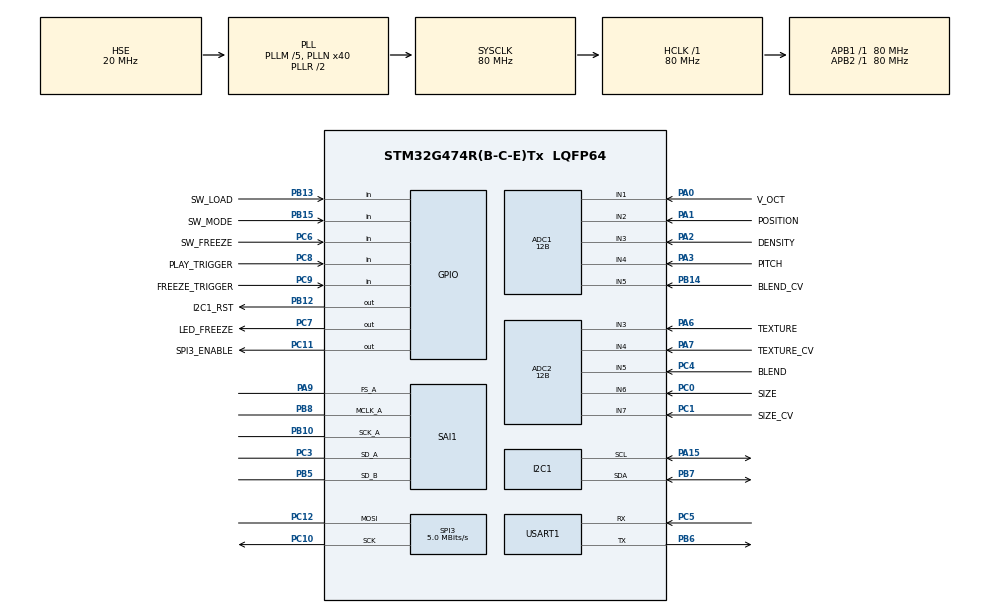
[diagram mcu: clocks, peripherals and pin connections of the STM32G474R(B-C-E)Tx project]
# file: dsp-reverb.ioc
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ADC1.Channel-1\#ChannelRegularConversion=ADC_CHANNEL_1
ADC1.Channel-2\#ChannelRegularConversion=ADC_CHANNEL_2
ADC1.Channel-3\#ChannelRegularConversion=ADC_CHANNEL_3
ADC1.Channel-4\#ChannelRegularConversion=ADC_CHANNEL_4
ADC1.Channel-5\#ChannelRegularConversion=ADC_CHANNEL_5
ADC1.ContinuousConvMode=ENABLE
ADC1.DMAContinuousRequests=ENABLE
ADC1.NbrOfConversion=5
ADC1.NbrOfConversionFlag=1
ADC1.OffsetNumber-1\#ChannelRegularConversion=ADC_OFFSET_NONE
ADC1.OffsetNumber-2\#ChannelRegularConversion=ADC_OFFSET_NONE
ADC1.OffsetNumber-3\#ChannelRegularConversion=ADC_OFFSET_NONE
ADC1.OffsetNumber-4\#ChannelRegularConversion=ADC_OFFSET_NONE
ADC1.OffsetNumber-5\#ChannelRegularConversion=ADC_OFFSET_NONE
ADC1.Overrun=ADC_OVR_DATA_PRESERVED
ADC1.Rank-1\#ChannelRegularConversion=1
ADC1.Rank-2\#ChannelRegularConversion=2
ADC1.Rank-3\#ChannelRegularConversion=3
ADC1.Rank-4\#ChannelRegularConversion=4
ADC1.Rank-5\#ChannelRegularConversion=5
ADC1.Resolution=ADC_RESOLUTION_12B
ADC1.SamplingTime-1\#ChannelRegularConversion=ADC_SAMPLETIME_47CYCLES_5
ADC1.SamplingTime-2\#ChannelRegularConversion=ADC_SAMPLETIME_47CYCLES_5
ADC1.SamplingTime-3\#ChannelRegularConversion=ADC_SAMPLETIME_47CYCLES_5
ADC1.SamplingTime-4\#ChannelRegularConversion=ADC_SAMPLETIME_47CYCLES_5
ADC1.SamplingTime-5\#ChannelRegularConversion=ADC_SAMPLETIME_47CYCLES_5
ADC1.master=1
ADC2.Channel-2\#ChannelRegularConversion=ADC_CHANNEL_3
ADC2.Channel-3\#ChannelRegularConversion=ADC_CHANNEL_4
ADC2.Channel-4\#ChannelRegularConversion=ADC_CHANNEL_5
ADC2.Channel-5\#ChannelRegularConversion=ADC_CHANNEL_6
ADC2.Channel-6\#ChannelRegularConversion=ADC_CHANNEL_7
ADC2.ContinuousConvMode=ENABLE
ADC2.DMAContinuousRequests=ENABLE
ADC2.EOCSelection=ADC_EOC_SEQ_CONV
ADC2.NbrOfConversion=5
ADC2.NbrOfConversionFlag=1
ADC2.OffsetNumber-2\#ChannelRegularConversion=ADC_OFFSET_NONE
ADC2.OffsetNumber-3\#ChannelRegularConversion=ADC_OFFSET_NONE
ADC2.OffsetNumber-4\#ChannelRegularConversion=ADC_OFFSET_NONE
ADC2.OffsetNumber-5\#ChannelRegularConversion=ADC_OFFSET_NONE
ADC2.OffsetNumber-6\#ChannelRegularConversion=ADC_OFFSET_NONE
ADC2.Overrun=ADC_OVR_DATA_PRESERVED
ADC2.Rank-2\#ChannelRegularConversion=1
ADC2.Rank-3\#ChannelRegularConversion=2
ADC2.Rank-4\#ChannelRegularConversion=3
ADC2.Rank-5\#ChannelRegularConversion=4
ADC2.Rank-6\#ChannelRegularConversion=5
ADC2.Resolution=ADC_RESOLUTION_12B
ADC2.SamplingTime-2\#ChannelRegularConversion=ADC_SAMPLETIME_47CYCLES_5
ADC2.SamplingTime-3\#ChannelRegularConversion=ADC_SAMPLETIME_47CYCLES_5
ADC2.SamplingTime-4\#ChannelRegularConversion=ADC_SAMPLETIME_47CYCLES_5
ADC2.SamplingTime-5\#ChannelRegularConversion=ADC_SAMPLETIME_47CYCLES_5
ADC2.SamplingTime-6\#ChannelRegularConversion=ADC_SAMPLETIME_47CYCLES_5
Dma.ADC1.0.Direction=DMA_PERIPH_TO_MEMORY
Dma.ADC1.0.EventEnable=DISABLE
Dma.ADC1.0.Instance=DMA1_Channel1
Dma.ADC1.0.MemDataAlignment=DMA_MDATAALIGN_HALFWORD
Dma.ADC1.0.MemInc=DMA_MINC_ENABLE
Dma.ADC1.0.Mode=DMA_NORMAL
Dma.ADC1.0.PeriphDataAlignment=DMA_PDATAALIGN_HALFWORD
Dma.ADC1.0.PeriphInc=DMA_PINC_DISABLE
Dma.ADC1.0.Polarity=HAL_DMAMUX_REQ_GEN_RISING
Dma.ADC1.0.Priority=DMA_PRIORITY_HIGH
Dma.ADC1.0.RequestNumber=1
Dma.ADC1.0.SignalID=NONE
Dma.ADC1.0.SyncEnable=DISABLE
Dma.ADC1.0.SyncPolarity=HAL_DMAMUX_SYNC_NO_EVENT
Dma.ADC1.0.SyncRequestNumber=1
Dma.ADC1.0.SyncSignalID=NONE
Dma.ADC2.1.Direction=DMA_PERIPH_TO_MEMORY
Dma.ADC2.1.EventEnable=DISABLE
Dma.ADC2.1.Instance=DMA1_Channel2
Dma.ADC2.1.MemDataAlignment=DMA_MDATAALIGN_HALFWORD
Dma.ADC2.1.MemInc=DMA_MINC_ENABLE
Dma.ADC2.1.Mode=DMA_NORMAL
Dma.ADC2.1.PeriphDataAlignment=DMA_PDATAALIGN_HALFWORD
Dma.ADC2.1.PeriphInc=DMA_PINC_DISABLE
Dma.ADC2.1.Polarity=HAL_DMAMUX_REQ_GEN_RISING
Dma.ADC2.1.Priority=DMA_PRIORITY_HIGH
Dma.ADC2.1.RequestNumber=1
Dma.ADC2.1.SignalID=NONE
Dma.ADC2.1.SyncEnable=DISABLE
Dma.ADC2.1.SyncPolarity=HAL_DMAMUX_SYNC_NO_EVENT
Dma.ADC2.1.SyncRequestNumber=1
Dma.ADC2.1.SyncSignalID=NONE
Dma.Request0=ADC1
Dma.Request1=ADC2
I2C1.I2C_Fall_Time=0
I2C1.I2C_Rise_Time=0
I2C1.Timing=0x10909CEC
Mcu.Family=STM32G4
Mcu.Name=STM32G474R(B-C-E)Tx
Mcu.Package=LQFP64
NVIC.DMA1_Channel1_IRQn=true\:0\:0\:false\:false\:true\:false\:true\:true
NVIC.DMA1_Channel2_IRQn=true\:0\:0\:false\:false\:true\:false\:true\:true
NVIC.PriorityGroup=NVIC_PRIORITYGROUP_4
NVIC.RCC_IRQn=true\:0\:0\:false\:false\:true\:true\:false\:true
PA0.GPIO_Label=V_OCT
PA0.Mode=IN1-Single-Ended
PA0.Signal=ADC1_IN1
PA1.GPIO_Label=POSITION
PA1.Mode=IN2-Single-Ended
PA1.Signal=ADC1_IN2
PA13.Mode=Serial_Wire
PA13.Signal=SYS_JTMS-SWDIO
PA14.Mode=Serial_Wire
PA14.Signal=SYS_JTCK-SWCLK
PA15.Mode=I2C
PA15.Signal=I2C1_SCL
PA2.GPIO_Label=DENSITY
PA2.Mode=IN3-Single-Ended
PA2.Signal=ADC1_IN3
PA3.GPIO_Label=PITCH
PA3.Mode=IN4-Single-Ended
PA3.Signal=ADC1_IN4
PA6.GPIO_Label=TEXTURE
PA6.Mode=IN3-Single-Ended
PA6.Signal=ADC2_IN3
PA7.GPIO_Label=TEXTURE_CV
PA7.Mode=IN4-Single-Ended
PA7.Signal=ADC2_IN4
PA9.Mode=SAI_A_MasterWithClock
PA9.Signal=SAI1_FS_A
PB10.Mode=SAI_A_MasterWithClock
PB10.Signal=SAI1_SCK_A
PB12.GPIO_Label=I2C1_RST
PB12.Signal=GPIO_Output
PB13.GPIO_Label=SW_LOAD
PB13.GPIO_PuPd=GPIO_PULLUP
PB13.Signal=GPIO_Input
PB14.GPIO_Label=BLEND_CV
PB14.Mode=IN5-Single-Ended
PB14.Signal=ADC1_IN5
PB15.GPIO_Label=SW_MODE
PB15.GPIO_PuPd=GPIO_PULLUP
PB15.Signal=GPIO_Input
PB3.Signal=SYS_JTDO-SWO
PB5.Mode=SAI_B_SyncSlave
PB5.Signal=SAI1_SD_B
PB6.Mode=Asynchronous
PB6.Signal=USART1_TX
PB7.Mode=I2C
PB7.Signal=I2C1_SDA
PB8-BOOT0.Mode=SAI_A_MasterWithClock
PB8-BOOT0.Signal=SAI1_MCLK_A
PC0.GPIO_Label=SIZE
PC0.Mode=IN6-Single-Ended
PC0.Signal=ADC2_IN6
PC1.GPIO_Label=SIZE_CV
PC1.Mode=IN7-Single-Ended
PC1.Signal=ADC2_IN7
PC10.Mode=Simplex_Bidirectional_Master
PC10.Signal=SPI3_SCK
PC11.GPIO_Label=SPI3_ENABLE
PC11.GPIO_Speed=GPIO_SPEED_FREQ_HIGH
PC11.PinState=GPIO_PIN_SET
PC11.Signal=GPIO_Output
PC12.Mode=Simplex_Bidirectional_Master
PC12.Signal=SPI3_MOSI
PC3.Mode=SAI_A_MasterWithClock
PC3.Signal=SAI1_SD_A
PC4.GPIO_Label=BLEND
PC4.Mode=IN5-Single-Ended
PC4.Signal=ADC2_IN5
PC5.Mode=Asynchronous
PC5.Signal=USART1_RX
PC6.GPIO_Label=SW_FREEZE
PC6.GPIO_PuPd=GPIO_PULLUP
PC6.Signal=GPIO_Input
PC7.GPIO_Label=LED_FREEZE
PC7.Signal=GPIO_Output
PC8.GPIO_Label=PLAY_TRIGGER
PC8.GPIO_PuPd=GPIO_PULLDOWN
PC8.Signal=GPIO_Input
PC9.GPIO_Label=FREEZE_TRIGGER
PC9.GPIO_PuPd=GPIO_PULLDOWN
PC9.Signal=GPIO_Input
PF0-OSC_IN.Mode=HSE-External-Oscillator
PF0-OSC_IN.Signal=RCC_OSC_IN
PF1-OSC_OUT.Mode=HSE-External-Oscillator
PF1-OSC_OUT.Signal=RCC_OSC_OUT
ProjectManager.HeapSize=0x200
ProjectManager.StackSize=0x400
ProjectManager.TargetToolchain=STM32CubeIDE
RCC.ADC12Freq_Value=80000000
RCC.ADC345Freq_Value=80000000
RCC.AHBFreq_Value=80000000
RCC.APB1Freq_Value=80000000
RCC.APB1TimFreq_Value=80000000
RCC.APB2Freq_Value=80000000
RCC.APB2TimFreq_Value=80000000
RCC.CortexFreq_Value=80000000
RCC.EXTERNAL_CLOCK_VALUE=12288000
RCC.HCLKFreq_Value=80000000
RCC.HSE_VALUE=20000000
RCC.HSI48_VALUE=48000000
RCC.HSI_VALUE=16000000
RCC.LSE_VALUE=32768
RCC.PLLM=RCC_PLLM_DIV5
RCC.PLLN=40
RCC.PLLSourceVirtual=RCC_PLLSOURCE_HSE
RCC.SYSCLKFreq_VALUE=80000000
RCC.SYSCLKSource=RCC_SYSCLKSOURCE_PLLCLK
RCC.USBFreq_Value=80000000
RCC.VCOOutputFreq_Value=160000000
SAI1.AudioFrequency-SAI_A_MasterWithClock=SAI_AUDIO_FREQUENCY_48K
SAI1.AudioMode-SAI_A_MasterWithClock=SAI_MODEMASTER_TX
SAI1.BasicDataSize-SAI_A_MasterWithClock=SAI_PROTOCOL_DATASIZE_24BIT
SAI1.BasicDataSize-SAI_B_SyncSlave=SAI_PROTOCOL_DATASIZE_24BIT
SAI1.InitProtocol-SAI_A_MasterWithClock=Enable
SAI1.InitProtocol-SAI_B_SyncSlave=Enable
SAI1.Instance-SAI_A_MasterWithClock=SAI$Index_Block_A
SAI1.Instance-SAI_B_SyncSlave=SAI$Index_Block_B
SAI1.MckOutput-SAI_A_MasterWithClock=SAI_MCK_OUTPUT_ENABLE
SAI1.VirtualMode-SAI_A_MasterWithClock=VM_MASTER
SAI1.VirtualMode-SAI_B_SyncSlave=VM_SLAVE
SAI1.VirtualProtocol-SAI_A_BASIC=VM_BASIC_PROTOCOL
SAI1.VirtualProtocol-SAI_B_BASIC=VM_BASIC_PROTOCOL
SPI3.BaudRatePrescaler=SPI_BAUDRATEPRESCALER_16
SPI3.CalculateBaudRate=5.0 MBits/s
SPI3.DataSize=SPI_DATASIZE_8BIT
SPI3.Direction=SPI_DIRECTION_1LINE
SPI3.Mode=SPI_MODE_MASTER
SPI3.VirtualType=VM_MASTER
USART1.VirtualMode-Asynchronous=VM_ASYNC
VP_SAI1_VP_$IpInstance_SAIA_SAI_BASIC.Mode=SAI_A_BASIC
VP_SAI1_VP_$IpInstance_SAIB_SAI_BASIC.Mode=SAI_B_BASIC
VP_SYS_VS_DBSignals.Mode=DisableDeadBatterySignals
board=custom

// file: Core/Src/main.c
/* USER CODE BEGIN Header */
/**
  ******************************************************************************
  * @file           : main.c
  * @brief          : Main program body
  ******************************************************************************
  * @attention
  *
  * Copyright (c) 2025 STMicroelectronics.
  * All rights reserved.
  *
  * This software is licensed under terms that can be found in the LICENSE file
  * in the root directory of this software component.
  * If no LICENSE file comes with this software, it is provided AS-IS.
  *
  ******************************************************************************
  */
/* USER CODE END Header */
#include "main.h"

/* USER CODE BEGIN Includes */
#include "app/cs4270.h"
#include "app/reverb.h"
#include "app/adc.h"
#include "app/led_driver.h"

/* USER CODE END Includes */

/* USER CODE BEGIN PD */
// Buffer sizes for 48kHz stereo, 24-bit
#define BUFFER_SIZE     256  // Adjust based on your latency requirements
#define SAMPLE_SIZE     4    // 32-bit container for 24-bit samples

/* USER CODE END PD */

ADC_HandleTypeDef hadc1;
ADC_HandleTypeDef hadc2;
DMA_HandleTypeDef hdma_adc1;
DMA_HandleTypeDef hdma_adc2;

I2C_HandleTypeDef hi2c1;

SAI_HandleTypeDef hsai_BlockA1;
SAI_HandleTypeDef hsai_BlockB1;

SPI_HandleTypeDef hspi3;

UART_HandleTypeDef huart1;

/* USER CODE BEGIN PV */

// Configurations
LED_DRIVER_config led_driver_config;
CS4270_config cs4270_config;

// UI Parameters
REVERB_parameters reverb_parameters;

// Define buffers for ADC results
uint16_t adc1_buffer[5]; // Size matches NbrOfConversion
uint16_t adc2_buffer[5];

// DMA buffers
int32_t rxBuffer[BUFFER_SIZE * 2]; // Double buffer for input
int32_t txBuffer[BUFFER_SIZE * 2]; // Double buffer for output

/* USER CODE END PV */

void SystemClock_Config(void);
static void MX_GPIO_Init(void);
static void MX_DMA_Init(void);
static void MX_ADC1_Init(void);
static void MX_ADC2_Init(void);
static void MX_I2C1_Init(void);
static void MX_SAI1_Init(void);
static void MX_SPI3_Init(void);
static void MX_USART1_UART_Init(void);

/* USER CODE BEGIN 0 */

// Initialize DMA
void initAudioDMA(void)
{
    // Start SAI DMA for both RX and TX
    HAL_SAI_Receive_DMA(&hsai_BlockB1, rxBuffer, BUFFER_SIZE * 2);
    HAL_SAI_Transmit_DMA(&hsai_BlockA1, txBuffer, BUFFER_SIZE * 2);
}

// DMA Callbacks

void HAL_ADC_ConvCpltCallback(ADC_HandleTypeDef* hadc)
{
    if(hadc->Instance == ADC1)
    {
        // Process new values
        REVERB_parameters parameters = ADC_fetch_parameters();
        ADC_smooth_parameters(parameters, &reverb_parameters);
    }
}

void HAL_SAI_RxHalfCpltCallback(SAI_HandleTypeDef* hsai)
{
    if (hsai->Instance == SAI1_Block_B)
    {
        // Process first half of input buffer
        REVERB_process(rxBuffer, txBuffer, 0, BUFFER_SIZE);
    }
}

void HAL_SAI_RxCpltCallback(SAI_HandleTypeDef* hsai)
{
    if (hsai->Instance == SAI1_Block_B)
    {
        // Process second half of input buffer
        REVERB_process(rxBuffer, txBuffer, BUFFER_SIZE, BUFFER_SIZE);
    }
}

/* USER CODE END 0 */

int main(void)
{

    /* MCU Configuration--------------------------------------------------------*/

    /* Reset of all peripherals, Initializes the Flash interface and the Systick. */
    HAL_Init();

    /* Configure the system clock */
    SystemClock_Config();

    /* Initialize all configured peripherals */
    MX_GPIO_Init();
    MX_DMA_Init();
    MX_ADC1_Init();
    MX_ADC2_Init();
    MX_I2C1_Init();
    MX_SAI1_Init();
    MX_SPI3_Init();
    MX_USART1_UART_Init();
    /* USER CODE BEGIN 2 */

    // **********************
    // INIT LED DRIVER
    // **********************
    LED_DRIVER_init(&led_driver_config, SPI3_ENABLE_GPIO_Port, SPI3_ENABLE_Pin, &hspi3);

    LED_DRIVER_set_color(&led_driver_config, LED1, LED_GREEN);
    HAL_Delay(500);

    // **********************
    // INIT CS4270
    // **********************
    cs4270_init(&cs4270_config, I2C1_RST_GPIO_Port, I2C1_RST_Pin, &hi2c1);
    if (cs4270_configure(&cs4270_config) != HAL_OK)
    {
        LED_DRIVER_set_all(&led_driver_config, LED_RED);
        Error_Handler();
    }

    LED_DRIVER_set_color(&led_driver_config, LED2, LED_GREEN);
    HAL_Delay(500);

    // Set initial volume
    cs4270_set_volume(&cs4270_config, 0); // 0dB

    // **********************
    // INIT Reverb
    // **********************

    LED_DRIVER_set_color(&led_driver_config, LED3, LED_GREEN);
    HAL_Delay(500);

    // **********************
    // INIT ADC's for DMA
    // **********************

    LED_DRIVER_set_color(&led_driver_config, LED4, LED_GREEN);
    HAL_Delay(500);

    // **********************
    // INIT DMA
    // **********************

    // Start DMA transfers, only after the CS4270 has been configured
    initAudioDMA();

    // **********************
    // SHOW SUCCESS STATUS
    // **********************

    LED_DRIVER_set_all(&led_driver_config, LED_YELLOW);
    // Wait for a second before turing all lights off to show all is okay
    HAL_Delay(1000);
    LED_DRIVER_set_all(&led_driver_config, LED_OFF);

    /* USER CODE END 2 */

    /* Infinite loop */
    while (1)
    {

        /* USER CODE BEGIN 3 */

        // **********************
        // PROCESS REVERB CONFIG
        // **********************
    }
    /* USER CODE END 3 */
}

void SystemClock_Config(void)
{
    RCC_OscInitTypeDef RCC_OscInitStruct = {0};
    RCC_ClkInitTypeDef RCC_ClkInitStruct = {0};

    /** Configure the main internal regulator output voltage
    */
    HAL_PWREx_ControlVoltageScaling(PWR_REGULATOR_VOLTAGE_SCALE1);

    /** Initializes the RCC Oscillators according to the specified parameters
    * in the RCC_OscInitTypeDef structure.
    */
    RCC_OscInitStruct.OscillatorType = RCC_OSCILLATORTYPE_HSE;
    RCC_OscInitStruct.HSEState = RCC_HSE_ON;
    RCC_OscInitStruct.PLL.PLLState = RCC_PLL_ON;
    RCC_OscInitStruct.PLL.PLLSource = RCC_PLLSOURCE_HSE;
    RCC_OscInitStruct.PLL.PLLM = RCC_PLLM_DIV5;
    RCC_OscInitStruct.PLL.PLLN = 40;
    RCC_OscInitStruct.PLL.PLLP = RCC_PLLP_DIV2;
    RCC_OscInitStruct.PLL.PLLQ = RCC_PLLQ_DIV2;
    RCC_OscInitStruct.PLL.PLLR = RCC_PLLR_DIV2;
    if (HAL_RCC_OscConfig(&RCC_OscInitStruct) != HAL_OK)
    {
        Error_Handler();
    }

    /** Initializes the CPU, AHB and APB buses clocks
    */
    RCC_ClkInitStruct.ClockType = RCC_CLOCKTYPE_HCLK | RCC_CLOCKTYPE_SYSCLK
        | RCC_CLOCKTYPE_PCLK1 | RCC_CLOCKTYPE_PCLK2;
    RCC_ClkInitStruct.SYSCLKSource = RCC_SYSCLKSOURCE_PLLCLK;
    RCC_ClkInitStruct.AHBCLKDivider = RCC_SYSCLK_DIV1;
    RCC_ClkInitStruct.APB1CLKDivider = RCC_HCLK_DIV1;
    RCC_ClkInitStruct.APB2CLKDivider = RCC_HCLK_DIV1;

    if (HAL_RCC_ClockConfig(&RCC_ClkInitStruct, FLASH_LATENCY_2) != HAL_OK)
    {
        Error_Handler();
    }
}

static void MX_ADC1_Init(void)
{

    ADC_MultiModeTypeDef multimode = {0};
    ADC_ChannelConfTypeDef sConfig = {0};

    /** Common config
    */
    hadc1.Instance = ADC1;
    hadc1.Init.ClockPrescaler = ADC_CLOCK_SYNC_PCLK_DIV2;
    hadc1.Init.Resolution = ADC_RESOLUTION_12B;
    hadc1.Init.DataAlign = ADC_DATAALIGN_RIGHT;
    hadc1.Init.GainCompensation = 0;
    hadc1.Init.ScanConvMode = ADC_SCAN_ENABLE;
    hadc1.Init.EOCSelection = ADC_EOC_SINGLE_CONV;
    hadc1.Init.LowPowerAutoWait = DISABLE;
    hadc1.Init.ContinuousConvMode = ENABLE;
    hadc1.Init.NbrOfConversion = 5;
    hadc1.Init.DiscontinuousConvMode = DISABLE;
    hadc1.Init.ExternalTrigConv = ADC_SOFTWARE_START;
    hadc1.Init.ExternalTrigConvEdge = ADC_EXTERNALTRIGCONVEDGE_NONE;
    hadc1.Init.DMAContinuousRequests = ENABLE;
    hadc1.Init.Overrun = ADC_OVR_DATA_PRESERVED;
    hadc1.Init.OversamplingMode = DISABLE;
    if (HAL_ADC_Init(&hadc1) != HAL_OK)
    {
        Error_Handler();
    }

    /** Configure the ADC multi-mode
    */
    multimode.Mode = ADC_MODE_INDEPENDENT;
    if (HAL_ADCEx_MultiModeConfigChannel(&hadc1, &multimode) != HAL_OK)
    {
        Error_Handler();
    }

    /** Configure Regular Channel
    */
    sConfig.Channel = ADC_CHANNEL_1;
    sConfig.Rank = ADC_REGULAR_RANK_1;
    sConfig.SamplingTime = ADC_SAMPLETIME_47CYCLES_5;
    sConfig.SingleDiff = ADC_SINGLE_ENDED;
    sConfig.OffsetNumber = ADC_OFFSET_NONE;
    sConfig.Offset = 0;
    if (HAL_ADC_ConfigChannel(&hadc1, &sConfig) != HAL_OK)
    {
        Error_Handler();
    }

    /** Configure Regular Channel
    */
    sConfig.Channel = ADC_CHANNEL_2;
    sConfig.Rank = ADC_REGULAR_RANK_2;
    if (HAL_ADC_ConfigChannel(&hadc1, &sConfig) != HAL_OK)
    {
        Error_Handler();
    }

    /** Configure Regular Channel
    */
    sConfig.Channel = ADC_CHANNEL_3;
    sConfig.Rank = ADC_REGULAR_RANK_3;
    if (HAL_ADC_ConfigChannel(&hadc1, &sConfig) != HAL_OK)
    {
        Error_Handler();
    }

    /** Configure Regular Channel
    */
    sConfig.Channel = ADC_CHANNEL_4;
    sConfig.Rank = ADC_REGULAR_RANK_4;
    if (HAL_ADC_ConfigChannel(&hadc1, &sConfig) != HAL_OK)
    {
        Error_Handler();
    }

    /** Configure Regular Channel
    */
    sConfig.Channel = ADC_CHANNEL_5;
    sConfig.Rank = ADC_REGULAR_RANK_5;
    if (HAL_ADC_ConfigChannel(&hadc1, &sConfig) != HAL_OK)
    {
        Error_Handler();
    }
    /* USER CODE BEGIN ADC1_Init 2 */

    // V_OCT
    sConfig.Channel = ADC_CHANNEL_1; // PA0
    sConfig.Rank = ADC_REGULAR_RANK_1;
    sConfig.SamplingTime = ADC_SAMPLETIME_47CYCLES_5;
    HAL_ADC_ConfigChannel(&hadc1, &sConfig);

    /* USER CODE END ADC1_Init 2 */
}

static void MX_ADC2_Init(void)
{

    ADC_ChannelConfTypeDef sConfig = {0};

    /** Common config
    */
    hadc2.Instance = ADC2;
    hadc2.Init.ClockPrescaler = ADC_CLOCK_SYNC_PCLK_DIV2;
    hadc2.Init.Resolution = ADC_RESOLUTION_12B;
    hadc2.Init.DataAlign = ADC_DATAALIGN_RIGHT;
    hadc2.Init.GainCompensation = 0;
    hadc2.Init.ScanConvMode = ADC_SCAN_ENABLE;
    hadc2.Init.EOCSelection = ADC_EOC_SEQ_CONV;
    hadc2.Init.LowPowerAutoWait = DISABLE;
    hadc2.Init.ContinuousConvMode = ENABLE;
    hadc2.Init.NbrOfConversion = 5;
    hadc2.Init.DiscontinuousConvMode = DISABLE;
    hadc2.Init.ExternalTrigConv = ADC_SOFTWARE_START;
    hadc2.Init.ExternalTrigConvEdge = ADC_EXTERNALTRIGCONVEDGE_NONE;
    hadc2.Init.DMAContinuousRequests = ENABLE;
    hadc2.Init.Overrun = ADC_OVR_DATA_PRESERVED;
    hadc2.Init.OversamplingMode = DISABLE;
    if (HAL_ADC_Init(&hadc2) != HAL_OK)
    {
        Error_Handler();
    }

    /** Configure Regular Channel
    */
    sConfig.Channel = ADC_CHANNEL_3;
    sConfig.Rank = ADC_REGULAR_RANK_1;
    sConfig.SamplingTime = ADC_SAMPLETIME_47CYCLES_5;
    sConfig.SingleDiff = ADC_SINGLE_ENDED;
    sConfig.OffsetNumber = ADC_OFFSET_NONE;
    sConfig.Offset = 0;
    if (HAL_ADC_ConfigChannel(&hadc2, &sConfig) != HAL_OK)
    {
        Error_Handler();
    }

    /** Configure Regular Channel
    */
    sConfig.Channel = ADC_CHANNEL_4;
    sConfig.Rank = ADC_REGULAR_RANK_2;
    if (HAL_ADC_ConfigChannel(&hadc2, &sConfig) != HAL_OK)
    {
        Error_Handler();
    }

    /** Configure Regular Channel
    */
    sConfig.Channel = ADC_CHANNEL_5;
    sConfig.Rank = ADC_REGULAR_RANK_3;
    if (HAL_ADC_ConfigChannel(&hadc2, &sConfig) != HAL_OK)
    {
        Error_Handler();
    }

    /** Configure Regular Channel
    */
    sConfig.Channel = ADC_CHANNEL_6;
    sConfig.Rank = ADC_REGULAR_RANK_4;
    if (HAL_ADC_ConfigChannel(&hadc2, &sConfig) != HAL_OK)
    {
        Error_Handler();
    }

    /** Configure Regular Channel
    */
    sConfig.Channel = ADC_CHANNEL_7;
    sConfig.Rank = ADC_REGULAR_RANK_5;
    if (HAL_ADC_ConfigChannel(&hadc2, &sConfig) != HAL_OK)
    {
        Error_Handler();
    }
}

static void MX_I2C1_Init(void)
{

    hi2c1.Instance = I2C1;
    hi2c1.Init.Timing = 0x10909CEC;
    hi2c1.Init.OwnAddress1 = 0;
    hi2c1.Init.AddressingMode = I2C_ADDRESSINGMODE_7BIT;
    hi2c1.Init.DualAddressMode = I2C_DUALADDRESS_DISABLE;
    hi2c1.Init.OwnAddress2 = 0;
    hi2c1.Init.OwnAddress2Masks = I2C_OA2_NOMASK;
    hi2c1.Init.GeneralCallMode = I2C_GENERALCALL_DISABLE;
    hi2c1.Init.NoStretchMode = I2C_NOSTRETCH_DISABLE;
    if (HAL_I2C_Init(&hi2c1) != HAL_OK)
    {
        Error_Handler();
    }

    /** Configure Analogue filter
    */
    if (HAL_I2CEx_ConfigAnalogFilter(&hi2c1, I2C_ANALOGFILTER_ENABLE) != HAL_OK)
    {
        Error_Handler();
    }

    /** Configure Digital filter
    */
    if (HAL_I2CEx_ConfigDigitalFilter(&hi2c1, 0) != HAL_OK)
    {
        Error_Handler();
    }
}

static void MX_SAI1_Init(void)
{

    hsai_BlockA1.Instance = SAI1_Block_A;
    hsai_BlockA1.Init.AudioMode = SAI_MODEMASTER_TX;
    hsai_BlockA1.Init.Synchro = SAI_ASYNCHRONOUS;
    hsai_BlockA1.Init.OutputDrive = SAI_OUTPUTDRIVE_DISABLE;
    hsai_BlockA1.Init.NoDivider = SAI_MASTERDIVIDER_ENABLE;
    hsai_BlockA1.Init.MckOverSampling = SAI_MCK_OVERSAMPLING_DISABLE;
    hsai_BlockA1.Init.FIFOThreshold = SAI_FIFOTHRESHOLD_EMPTY;
    hsai_BlockA1.Init.AudioFrequency = SAI_AUDIO_FREQUENCY_48K;
    hsai_BlockA1.Init.SynchroExt = SAI_SYNCEXT_DISABLE;
    hsai_BlockA1.Init.MonoStereoMode = SAI_STEREOMODE;
    hsai_BlockA1.Init.CompandingMode = SAI_NOCOMPANDING;
    hsai_BlockA1.Init.TriState = SAI_OUTPUT_NOTRELEASED;
    if (HAL_SAI_InitProtocol(&hsai_BlockA1, SAI_I2S_STANDARD, SAI_PROTOCOL_DATASIZE_24BIT, 2) != HAL_OK)
    {
        Error_Handler();
    }
    hsai_BlockB1.Instance = SAI1_Block_B;
    hsai_BlockB1.Init.AudioMode = SAI_MODESLAVE_RX;
    hsai_BlockB1.Init.Synchro = SAI_SYNCHRONOUS;
    hsai_BlockB1.Init.OutputDrive = SAI_OUTPUTDRIVE_DISABLE;
    hsai_BlockB1.Init.FIFOThreshold = SAI_FIFOTHRESHOLD_EMPTY;
    hsai_BlockB1.Init.SynchroExt = SAI_SYNCEXT_DISABLE;
    hsai_BlockB1.Init.MonoStereoMode = SAI_STEREOMODE;
    hsai_BlockB1.Init.CompandingMode = SAI_NOCOMPANDING;
    hsai_BlockB1.Init.TriState = SAI_OUTPUT_NOTRELEASED;
    if (HAL_SAI_InitProtocol(&hsai_BlockB1, SAI_I2S_STANDARD, SAI_PROTOCOL_DATASIZE_24BIT, 2) != HAL_OK)
    {
        Error_Handler();
    }
}

static void MX_SPI3_Init(void)
{

    /* SPI3 parameter configuration*/
    hspi3.Instance = SPI3;
    hspi3.Init.Mode = SPI_MODE_MASTER;
    hspi3.Init.Direction = SPI_DIRECTION_1LINE;
    hspi3.Init.DataSize = SPI_DATASIZE_8BIT;
    hspi3.Init.CLKPolarity = SPI_POLARITY_LOW;
    hspi3.Init.CLKPhase = SPI_PHASE_1EDGE;
    hspi3.Init.NSS = SPI_NSS_SOFT;
    hspi3.Init.BaudRatePrescaler = SPI_BAUDRATEPRESCALER_16;
    hspi3.Init.FirstBit = SPI_FIRSTBIT_MSB;
    hspi3.Init.TIMode = SPI_TIMODE_DISABLE;
    hspi3.Init.CRCCalculation = SPI_CRCCALCULATION_DISABLE;
    hspi3.Init.CRCPolynomial = 7;
    hspi3.Init.CRCLength = SPI_CRC_LENGTH_DATASIZE;
    hspi3.Init.NSSPMode = SPI_NSS_PULSE_ENABLE;
    if (HAL_SPI_Init(&hspi3) != HAL_OK)
    {
        Error_Handler();
    }
}

static void MX_USART1_UART_Init(void)
{

    huart1.Instance = USART1;
    huart1.Init.BaudRate = 115200;
    huart1.Init.WordLength = UART_WORDLENGTH_8B;
    huart1.Init.StopBits = UART_STOPBITS_1;
    huart1.Init.Parity = UART_PARITY_NONE;
    huart1.Init.Mode = UART_MODE_TX_RX;
    huart1.Init.HwFlowCtl = UART_HWCONTROL_NONE;
    huart1.Init.OverSampling = UART_OVERSAMPLING_16;
    huart1.Init.OneBitSampling = UART_ONE_BIT_SAMPLE_DISABLE;
    huart1.Init.ClockPrescaler = UART_PRESCALER_DIV1;
    huart1.AdvancedInit.AdvFeatureInit = UART_ADVFEATURE_NO_INIT;
    if (HAL_UART_Init(&huart1) != HAL_OK)
    {
        Error_Handler();
    }
    if (HAL_UARTEx_SetTxFifoThreshold(&huart1, UART_TXFIFO_THRESHOLD_1_8) != HAL_OK)
    {
        Error_Handler();
    }
    if (HAL_UARTEx_SetRxFifoThreshold(&huart1, UART_RXFIFO_THRESHOLD_1_8) != HAL_OK)
    {
        Error_Handler();
    }
    if (HAL_UARTEx_DisableFifoMode(&huart1) != HAL_OK)
    {
        Error_Handler();
    }
}

static void MX_DMA_Init(void)
{
    /* DMA controller clock enable */
    __HAL_RCC_DMAMUX1_CLK_ENABLE();
    __HAL_RCC_DMA1_CLK_ENABLE();

    /* DMA interrupt init */
    /* DMA1_Channel1_IRQn interrupt configuration */
    HAL_NVIC_SetPriority(DMA1_Channel1_IRQn, 0, 0);
    HAL_NVIC_EnableIRQ(DMA1_Channel1_IRQn);
    /* DMA1_Channel2_IRQn interrupt configuration */
    HAL_NVIC_SetPriority(DMA1_Channel2_IRQn, 0, 0);
    HAL_NVIC_EnableIRQ(DMA1_Channel2_IRQn);
}

static void MX_GPIO_Init(void)
{
    GPIO_InitTypeDef GPIO_InitStruct = {0};

    /* GPIO Ports Clock Enable */
    __HAL_RCC_GPIOF_CLK_ENABLE();
    __HAL_RCC_GPIOC_CLK_ENABLE();
    __HAL_RCC_GPIOA_CLK_ENABLE();
    __HAL_RCC_GPIOB_CLK_ENABLE();

    /*Configure GPIO pin Output Level */
    HAL_GPIO_WritePin(I2C1_RST_GPIO_Port, I2C1_RST_Pin, GPIO_PIN_RESET);

    /*Configure GPIO pin Output Level */
    HAL_GPIO_WritePin(LED_FREEZE_GPIO_Port, LED_FREEZE_Pin, GPIO_PIN_RESET);

    /*Configure GPIO pin Output Level */
    HAL_GPIO_WritePin(SPI3_ENABLE_GPIO_Port, SPI3_ENABLE_Pin, GPIO_PIN_SET);

    /*Configure GPIO pin : I2C1_RST_Pin */
    GPIO_InitStruct.Pin = I2C1_RST_Pin;
    GPIO_InitStruct.Mode = GPIO_MODE_OUTPUT_PP;
    GPIO_InitStruct.Pull = GPIO_NOPULL;
    GPIO_InitStruct.Speed = GPIO_SPEED_FREQ_LOW;
    HAL_GPIO_Init(I2C1_RST_GPIO_Port, &GPIO_InitStruct);

    /*Configure GPIO pins : SW_LOAD_Pin SW_MODE_Pin */
    GPIO_InitStruct.Pin = SW_LOAD_Pin | SW_MODE_Pin;
    GPIO_InitStruct.Mode = GPIO_MODE_INPUT;
    GPIO_InitStruct.Pull = GPIO_PULLUP;
    HAL_GPIO_Init(GPIOB, &GPIO_InitStruct);

    /*Configure GPIO pin : SW_FREEZE_Pin */
    GPIO_InitStruct.Pin = SW_FREEZE_Pin;
    GPIO_InitStruct.Mode = GPIO_MODE_INPUT;
    GPIO_InitStruct.Pull = GPIO_PULLUP;
    HAL_GPIO_Init(SW_FREEZE_GPIO_Port, &GPIO_InitStruct);

    /*Configure GPIO pin : LED_FREEZE_Pin */
    GPIO_InitStruct.Pin = LED_FREEZE_Pin;
    GPIO_InitStruct.Mode = GPIO_MODE_OUTPUT_PP;
    GPIO_InitStruct.Pull = GPIO_NOPULL;
    GPIO_InitStruct.Speed = GPIO_SPEED_FREQ_LOW;
    HAL_GPIO_Init(LED_FREEZE_GPIO_Port, &GPIO_InitStruct);

    /*Configure GPIO pins : PLAY_TRIGGER_Pin FREEZE_TRIGGER_Pin */
    GPIO_InitStruct.Pin = PLAY_TRIGGER_Pin | FREEZE_TRIGGER_Pin;
    GPIO_InitStruct.Mode = GPIO_MODE_INPUT;
    GPIO_InitStruct.Pull = GPIO_PULLDOWN;
    HAL_GPIO_Init(GPIOC, &GPIO_InitStruct);

    /*Configure GPIO pin : SPI3_ENABLE_Pin */
    GPIO_InitStruct.Pin = SPI3_ENABLE_Pin;
    GPIO_InitStruct.Mode = GPIO_MODE_OUTPUT_PP;
    GPIO_InitStruct.Pull = GPIO_NOPULL;
    GPIO_InitStruct.Speed = GPIO_SPEED_FREQ_HIGH;
    HAL_GPIO_Init(SPI3_ENABLE_GPIO_Port, &GPIO_InitStruct);

}

void Error_Handler(void)
{
    __disable_irq();
    while (1)
    {
    }
}
